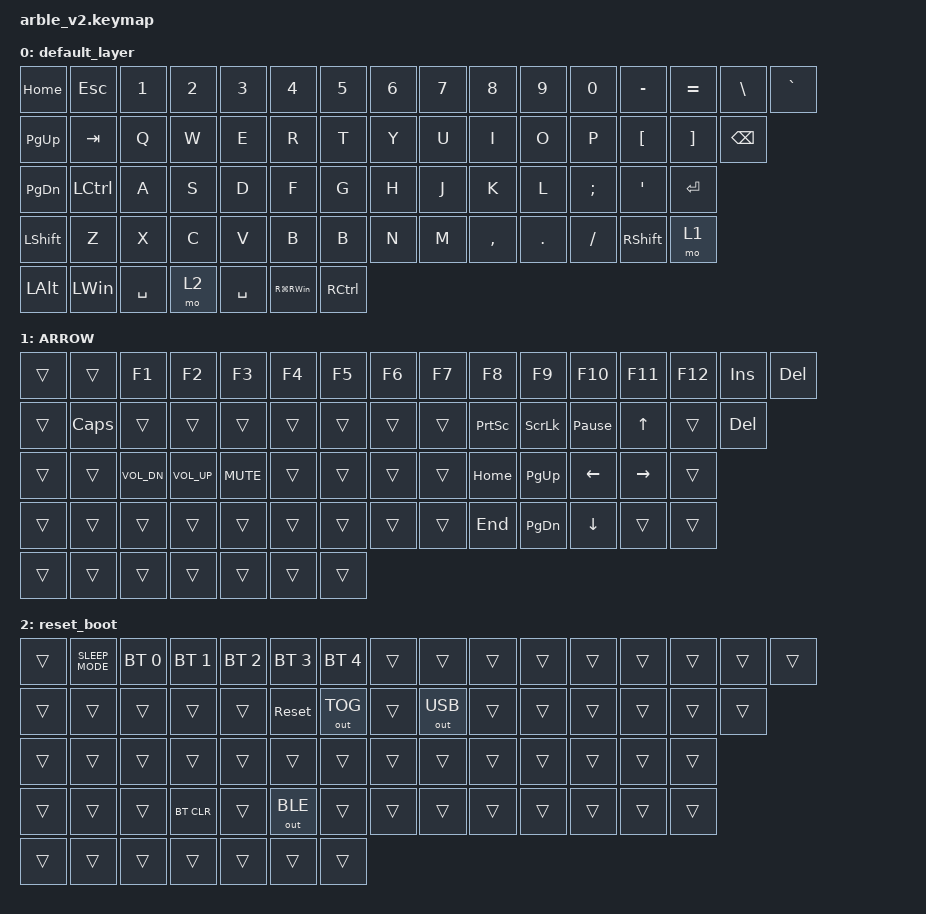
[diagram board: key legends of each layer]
/*
 * Copyright (c) 2021 Nick Winans
 *
 * SPDX-License-Identifier: MIT
 */

#include <behaviors.dtsi>
#include <dt-bindings/zmk/bt.h>
#include <dt-bindings/zmk/keys.h>
#include <dt-bindings/zmk/outputs.h>

/ {
    keymap {
        compatible = "zmk,keymap";

        default_layer {
            bindings = <
&kp HOME      &kp ESC       &kp N1     &kp N2  &kp N3     &kp N4             &kp N5     &kp N6  &kp N7  &kp N8     &kp N9   &kp N0    &kp MINUS  &kp EQUAL  &kp BACKSLASH  &kp GRAVE
&kp PAGE_UP   &kp TAB       &kp Q      &kp W   &kp E      &kp R              &kp T      &kp Y   &kp U   &kp I      &kp O    &kp P     &kp LBKT   &kp RBKT   &kp BACKSPACE
&kp PG_DN     &kp LCTRL     &kp A      &kp S   &kp D      &kp F              &kp G      &kp H   &kp J   &kp K      &kp L    &kp SEMI  &kp SQT    &kp RET
&kp LSHFT     &kp Z         &kp X      &kp C   &kp V      &kp B              &kp B      &kp N   &kp M   &kp COMMA  &kp DOT  &kp FSLH  &kp RSHFT  &mo 1
&kp LEFT_ALT  &kp LEFT_WIN  &kp SPACE  &mo 2   &kp SPACE  &kp RG(RIGHT_WIN)  &kp RCTRL
            >;
        };

        ARROW {
            bindings = <
&trans  &trans    &kp F1        &kp F2           &kp F3      &kp F4  &kp F5  &kp F6  &kp F7  &kp F8           &kp F9          &kp F10          &kp F11    &kp F12  &kp INS  &kp DEL
&trans  &kp CAPS  &trans        &trans           &trans      &trans  &trans  &trans  &trans  &kp PRINTSCREEN  &kp SCROLLLOCK  &kp PAUSE_BREAK  &kp UP     &trans   &kp DEL
&trans  &trans    &kp C_VOL_DN  &kp C_VOLUME_UP  &kp C_MUTE  &trans  &trans  &trans  &trans  &kp HOME         &kp PAGE_UP     &kp LEFT         &kp RIGHT  &trans
&trans  &trans    &trans        &trans           &trans      &trans  &trans  &trans  &trans  &kp END          &kp PAGE_DOWN   &kp DOWN         &trans     &trans
&trans  &trans    &trans        &trans           &trans      &trans  &trans
            >;
        };

        reset_boot {
            bindings = <
&trans  &kp C_SLEEP_MODE  &bt BT_SEL 0  &bt BT_SEL 1  &bt BT_SEL 2  &bt BT_SEL 3  &bt BT_SEL 4  &trans  &trans        &trans  &trans  &trans  &trans  &trans  &trans  &trans
&trans  &trans            &trans        &trans        &trans        &sys_reset    &out OUT_TOG  &trans  &out OUT_USB  &trans  &trans  &trans  &trans  &trans  &trans
&trans  &trans            &trans        &trans        &trans        &trans        &trans        &trans  &trans        &trans  &trans  &trans  &trans  &trans
&trans  &trans            &trans        &bt BT_CLR    &trans        &out OUT_BLE  &trans        &trans  &trans        &trans  &trans  &trans  &trans  &trans
&trans  &trans            &trans        &trans        &trans        &trans        &trans
            >;
        };
    };
};
